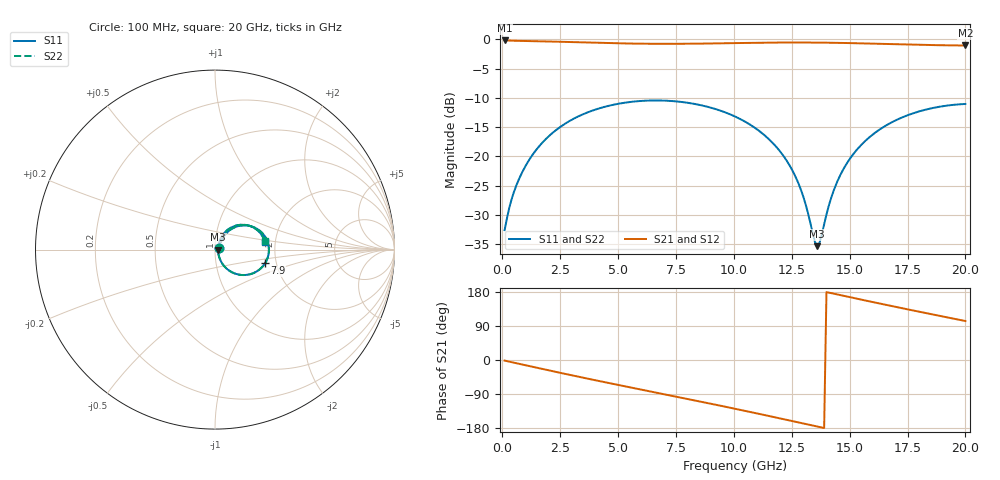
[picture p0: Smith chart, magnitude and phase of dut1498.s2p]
! Touchstone file exported from HFSS 2026.1.0
!  File:  C:/ffzhzh/LocalFiles/Ansys_Project_Files/temp_train_TSV_RDL_1498_1783365367_37376.aedt
!  Generated:  03:24:53 AM Jul  7, 2026
!  Design:  TSV_RDL
!  Project:  temp_train_TSV_RDL_1498_1783365367_37376
! Variables:
!  h_bsmrdl = 4.06um
!  h_ox = 20um
!  h_rdl = 5um
!  h_sub = 70.51um
!  h_tmrdl = 3.15um
!  h_tsv = 70.51um
!  h_via = 3um
!  l_bsmrdl = 345.87um
!  l_sub = 4374.28um
!  l_tmrdl = 694.74um
!  m_sub = 200um
!  pitch = 35.96um
!  r_tsv = 3.54um
!  s_tmrdl = 10um
!  w_bsmrdl = 27.63um
!  w_sub = 500um
!  w_tmrdl = 24.94um
!  x_tsv_center1 = 707.21um
!  x_tsv_center2 = 1080.71um
!  x_tsv_center3 = 1800.39um
!  x_tsv_center4 = 2173.89um
!  x_tsv_center5 = 2893.57um
!  x_tsv_center6 = 3267.07um
# GHz S MA R 50.000000
! Terminal data exported
! Port[1] = TM_RDL1_1_T1
! Port[2] = TM_RDL5_1_T1
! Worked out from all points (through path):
!   200 points, 100 MHz to 20 GHz, reference 50 ohm
!   highest |S21| = -0.19 dB at 100 MHz (marker M1); lowest = -1.0 dB at 20 GHz (marker M2)
!   group delay of S21, straight-line fit = 35.6 ps
!   lowest |S11| = -35.4 dB at 13.6 GHz (marker M3), VSWR 1.03, Z = 51.7 - j0.0488 ohm
!   |S11| at or under -10 dB: start of sweep to end of sweep
!   |S22| runs from -35.5 to -10.4 dB; largest |S21 - S12| = 1.3e-13
!   S11 on the Smith chart (normalised r, x): 100 MHz: 1.04, +0.02; 7.9 GHz: 1.74, -0.29; 20 GHz: 1.75, +0.17
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0.1  0.02339 23.4  0.9787 -1.5  0.9787 -1.5  0.02339 23.4
! Gamma 0 0 0 0
! Port Impedance 50 0 50 0
0.3  0.03615 43.9  0.9756 -4.4  0.9756 -4.4  0.03615 43.9
0.6  0.05589 52.9  0.972 -8.4  0.972 -8.4  0.05589 52.9
1.3  0.1026 55.8  0.9662 -17.9  0.9662 -17.9  0.1026 55.8
2.3  0.1664 48.4  0.9557 -31.2  0.9557 -31.2  0.1664 48.4
3.5  0.2295 35.5  0.941 -46.8  0.941 -46.8  0.2295 35.5
5.1  0.2834 17.1  0.9241 -67.0  0.9241 -67.0  0.2834 17.1
6.8  0.3002 -2.6  0.916 -88.0  0.916 -88.0  0.3002 -2.6
7.9  0.2889 -15.4  0.9171 -101.5  0.9171 -101.5  0.2889 -15.4
10.1  0.2167 -40.8  0.9293 -129.3  0.9293 -129.3  0.2167 -40.9
11.4  0.147 -55.0  0.937 -146.2  0.937 -146.2  0.147 -55.1
12.3  0.09063 -62.3  0.9399 -158.1  0.9399 -158.1  0.09059 -62.4
12.9  0.05153 -61.5  0.9402 -166.1  0.9402 -166.1  0.05144 -61.8
13.4  0.02225 -37.2  0.9392 -172.8  0.9392 -172.8  0.022 -37.8
13.6  0.01705 -1.6  0.9386 -175.5  0.9386 -175.5  0.01671 -1.7
13.7  0.01818 19.3  0.9382 -176.8  0.9382 -176.8  0.01785 19.7
14.3  0.05017 61.4  0.9349 175.2  0.9349 175.2  0.05002 61.8
14.8  0.08199 62.9  0.9312 168.6  0.9312 168.6  0.08189 63.2
15.6  0.1309 57.3  0.9236 158.1  0.9236 158.1  0.1309 57.5
16.7  0.1897 46.1  0.912 143.9  0.912 143.9  0.1896 46.2
18.3  0.2511 28.3  0.8957 123.7  0.8957 123.7  0.251 28.4
20  0.2802 9.2  0.8863 102.8  0.8863 102.8  0.2801 9.3
